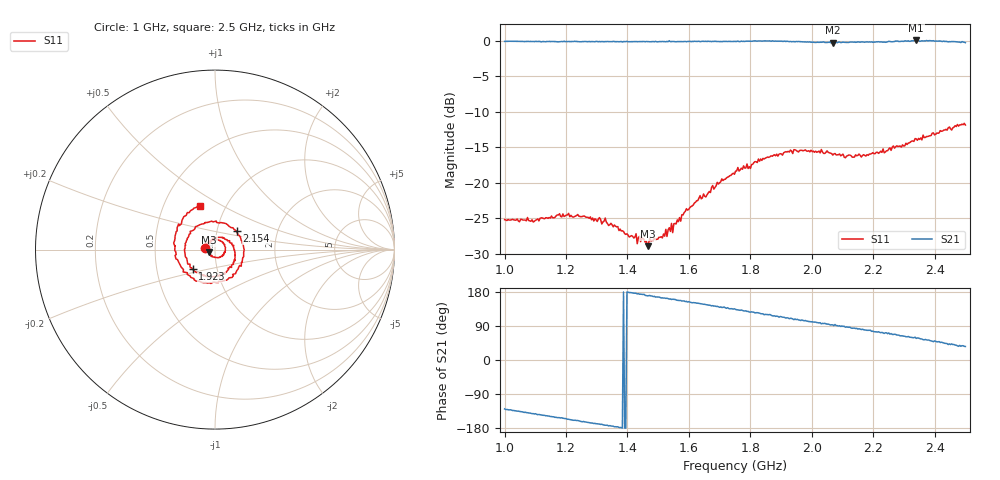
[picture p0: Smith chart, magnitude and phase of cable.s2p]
# HZ S RI R 50
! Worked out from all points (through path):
!   404 points, 1 GHz to 2.5 GHz, reference 50 ohm
!   highest |S21| = 0.08 dB at 2.34 GHz (marker M1); lowest = -0.2 dB at 2.068 GHz (marker M2)
!   group delay of S21, straight-line fit = 359 ps
!   lowest |S11| = -28.9 dB at 1.465 GHz (marker M3), VSWR 1.07, Z = 46.8 - j1.4 ohm
!   |S11| at or under -10 dB: start of sweep to end of sweep
!   S12 and S22 are empty: the file has one direction only
!   S11 on the Smith chart (normalised r, x): 1 GHz: 0.90, +0.01; 1.923 GHz: 0.76, -0.17; 2.154 GHz: 1.24, +0.26; 2.5 GHz: 0.76, +0.39
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1e9  -0.0543 0.00824  -0.6254 -0.7723  0 0  0 0
1.122829e9  0.00446 0.0563  -0.8161 -0.5611  0 0  0 0
1.253102e9  0.0577 -0.00035  -0.9479 -0.2867  0 0  0 0
1.364764e9  0.0198 -0.0447  -0.9882 -0.0622  0 0  0 0
1.46526e9  -0.0324 -0.0149  -0.9728 0.1849  0 0  0 0
1.502481e9  -0.0407 0.00676  -0.9602 0.2375  0 0  0 0
1.632754e9  0.0379 0.0681  -0.8553 0.5108  0 0  0 0
1.751861e9  0.112 -0.0447  -0.6831 0.7195  0 0  0 0
1.848635e9  0.00646 -0.1489  -0.5095 0.8642  0 0  0 0
1.923077e9  -0.1253 -0.1097  -0.3515 0.9297  0 0  0 0
2.001241e9  -0.1604 0.0425  -0.1857 0.964  0 0  0 0
2.068238e9  -0.0623 0.1439  -0.0448 0.9707  0 0  0 0
2.109181e9  0.0244 0.1481  0.058 0.9765  0 0  0 0
2.153846e9  0.121 0.1037  0.1313 0.9766  0 0  0 0
2.202233e9  0.1602 -0.0115  0.2559 0.9496  0 0  0 0
2.25062e9  0.1158 -0.1288  0.3156 0.9432  0 0  0 0
2.291563e9  0.02 -0.1772  0.4372 0.8955  0 0  0 0
2.33995e9  -0.1175 -0.1667  0.5483 0.8474  0 0  0 0
2.388337e9  -0.2082 -0.0563  0.6408 0.7728  0 0  0 0
2.421836e9  -0.2257 0.0482  0.6775 0.7285  0 0  0 0
2.459057e9  -0.1849 0.1596  0.7494 0.6486  0 0  0 0
2.5e9  -0.0849 0.2409  0.7909 0.5691  0 0  0 0
